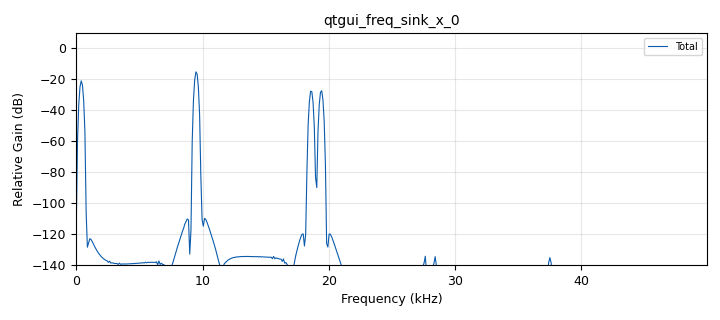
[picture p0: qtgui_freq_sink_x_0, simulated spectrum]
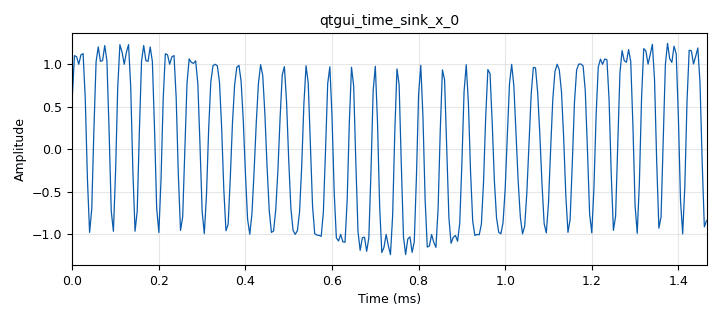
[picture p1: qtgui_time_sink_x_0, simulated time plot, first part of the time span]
options:
  parameters:
    author: fran
    generate_options: qt_gui
    id: TP4b
    output_language: python
    title: Not titled yet
  states: {}

blocks:
- name: samp_rate
  id: variable
  parameters:
    value: 200e3
  states: {}
- name: analog_const_source_x_0
  id: analog_const_source_x
  parameters:
    const: '0'
    type: float
  states: {}
- name: analog_const_source_x_0_0
  id: analog_const_source_x
  parameters:
    const: '0'
    type: float
  states: {state: disabled}
- name: analog_sig_source_x_0
  id: analog_sig_source_x
  parameters:
    amp: '1'
    freq: 5e3
    offset: '0'
    phase: '0'
    samp_rate: samp_rate
    type: float
    waveform: analog.GR_COS_WAVE
  states: {state: disabled}
- name: analog_sig_source_x_1
  id: analog_sig_source_x
  parameters:
    amp: '1'
    freq: '800'
    offset: '0'
    phase: '0'
    samp_rate: samp_rate
    type: float
    waveform: analog.GR_COS_WAVE
  states: {}
- name: analog_sig_source_x_2
  id: analog_sig_source_x
  parameters:
    amp: '1'
    comment: Piloto
    freq: 19e3
    offset: '0'
    phase: '0'
    samp_rate: samp_rate
    type: float
    waveform: analog.GR_COS_WAVE
  states: {}
- name: blocks_add_xx_0
  id: blocks_add_xx
  parameters:
    comment: L+R
    type: float
  states: {}
- name: blocks_add_xx_0_0
  id: blocks_add_xx
  parameters:
    comment: L+R
    num_inputs: '3'
    type: float
  states: {}
- name: blocks_file_sink_0
  id: blocks_file_sink
  parameters:
    file: /home/fran/Documents/UCA/4to año/Radiodifusión/git/Radiodifusion/TP1/Parte 4/MPX.dat
    type: float
  states: {state: disabled}
- name: blocks_multiply_xx_0
  id: blocks_multiply_xx
  parameters:
    type: float
  states: {}
- name: blocks_multiply_xx_0_0
  id: blocks_multiply_xx
  parameters:
    type: float
  states: {}
- name: blocks_sub_xx_0
  id: blocks_sub_xx
  parameters:
    comment: L-R
    type: float
  states: {}
- name: note_0
  id: note
  parameters:
    alias: Nota
    comment: Habilitar para generar archivo de señal
    note: archivo de señal
  states: {}
- name: qtgui_freq_sink_x_0
  id: qtgui_freq_sink_x
  parameters:
    bw: 100e3
    fc: '0'
    fftsize: '1024'
    freqhalf: 'False'
    label1: Total
    type: float
    wintype: firdes.WIN_BLACKMAN_hARRIS
  states: {}
- name: qtgui_time_sink_x_0
  id: qtgui_time_sink_x
  parameters:
    autoscale: 'True'
    size: '1024'
    srate: samp_rate
    type: float
  states: {}

connections:
- [analog_const_source_x_0, '0', blocks_add_xx_0, '0']
- [analog_const_source_x_0, '0', blocks_sub_xx_0, '0']
- [analog_const_source_x_0_0, '0', blocks_add_xx_0, '1']
- [analog_const_source_x_0_0, '0', blocks_sub_xx_0, '1']
- [analog_sig_source_x_0, '0', blocks_add_xx_0, '0']
- [analog_sig_source_x_0, '0', blocks_sub_xx_0, '0']
- [analog_sig_source_x_1, '0', blocks_add_xx_0, '1']
- [analog_sig_source_x_1, '0', blocks_sub_xx_0, '1']
- [analog_sig_source_x_2, '0', blocks_add_xx_0_0, '0']
- [analog_sig_source_x_2, '0', blocks_multiply_xx_0, '0']
- [analog_sig_source_x_2, '0', blocks_multiply_xx_0, '1']
- [blocks_add_xx_0, '0', blocks_add_xx_0_0, '2']
- [blocks_add_xx_0_0, '0', blocks_file_sink_0, '0']
- [blocks_add_xx_0_0, '0', qtgui_freq_sink_x_0, '0']
- [blocks_add_xx_0_0, '0', qtgui_time_sink_x_0, '0']
- [blocks_multiply_xx_0, '0', blocks_multiply_xx_0_0, '0']
- [blocks_multiply_xx_0_0, '0', blocks_add_xx_0_0, '1']
- [blocks_sub_xx_0, '0', blocks_multiply_xx_0_0, '1']

metadata:
  file_format: 1
